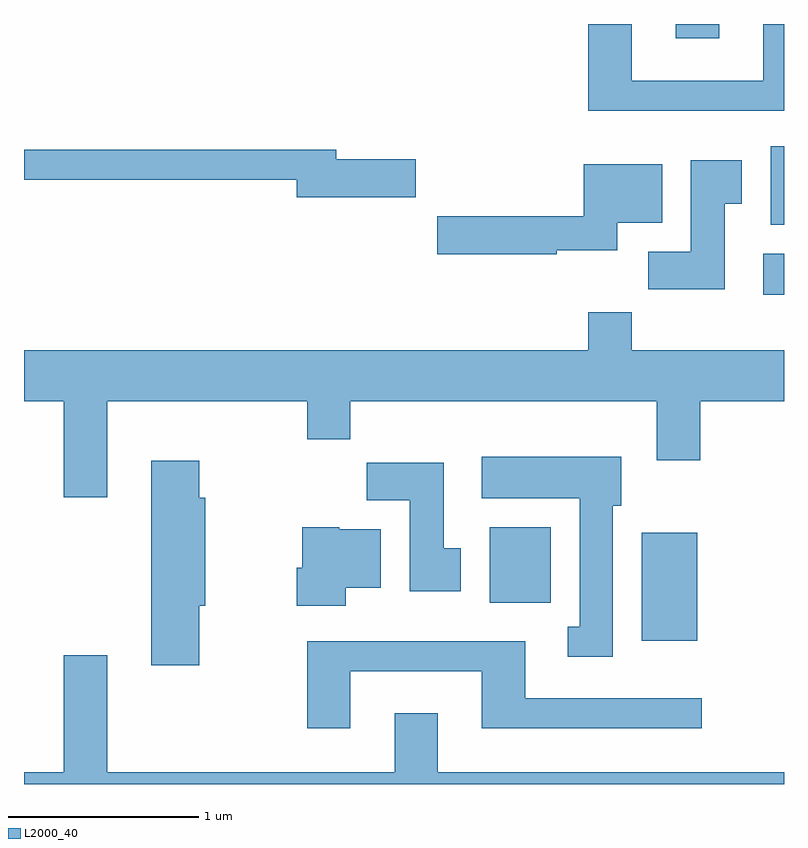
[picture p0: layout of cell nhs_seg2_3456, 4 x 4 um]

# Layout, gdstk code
import gdstk
lib = gdstk.Library(unit=1e-6, precision=1e-09)
def R(c, l, rs):  # rectangles x0, y0, x1, y1
    for r in rs: c.add(gdstk.rectangle(r[:2], r[2:], *l))
def P(c, l, *ps):  # polygons
    for p in ps: c.add(gdstk.Polygon(p, *l))
L2000_40 = (2000, 40)

nhs_seg2_3456 = lib.new_cell('nhs_seg2_3456')
R(nhs_seg2_3456, L2000_40, [(288.861,1102.556,289.154,1103.124), (288.061,1102.756,288.384,1103.154), (289.501,1104.376,289.611,1104.594), (289.541,1104.746,289.611,1105.159), (289.041,1105.726,289.269,1105.802)])
P(nhs_seg2_3456, L2000_40, [(289.611,1105.802),(289.501,1105.802),(289.501,1105.504),(288.809,1105.504),(288.809,1105.802),(288.581,1105.802),(288.581,1105.346),(289.611,1105.346)],
  [(287.674,1105.089),(287.254,1105.089),(287.254,1105.139),(285.611,1105.139),(285.611,1104.981),(287.046,1104.981),(287.046,1104.891),(287.674,1104.891)],
  [(289.299,1104.856),(289.389,1104.856),(289.389,1105.084),(289.121,1105.084),(289.121,1104.604),(288.896,1104.604),(288.896,1104.406),(289.299,1104.406)],
  [(288.414,1104.611),(288.734,1104.611),(288.734,1104.756),(288.969,1104.756),(288.969,1105.064),(288.556,1105.064),(288.556,1104.789),(287.786,1104.789),(287.786,1104.591),(288.414,1104.591)],
  [(286.049,1103.816),(287.101,1103.816),(287.101,1103.616),(287.329,1103.616),(287.329,1103.816),(288.941,1103.816),(288.941,1103.506),(289.169,1103.506),(289.169,1103.816),(289.611,1103.816),(289.611,1104.084),(288.809,1104.084),(288.809,1104.284),(288.581,1104.284),(288.581,1104.084),(285.611,1104.084),(285.611,1103.816),(285.821,1103.816),(285.821,1103.311),(286.049,1103.311)],
  [(288.709,1103.266),(288.754,1103.266),(288.754,1103.524),(288.021,1103.524),(288.021,1103.306),(288.536,1103.306),(288.536,1102.629),(288.473,1102.629),(288.473,1102.471),(288.709,1102.471)],
  [(286.534,1102.741),(286.564,1102.741),(286.564,1103.309),(286.534,1103.309),(286.534,1103.504),(286.281,1103.504),(286.281,1102.426),(286.534,1102.426)],
  [(287.909,1103.044),(287.819,1103.044),(287.819,1103.494),(287.416,1103.494),(287.416,1103.296),(287.641,1103.296),(287.641,1102.816),(287.909,1102.816)],
  [(287.304,1102.836),(287.489,1102.836),(287.489,1103.144),(287.27,1103.144),(287.27,1103.154),(287.076,1103.154),(287.076,1102.939),(287.046,1102.939),(287.046,1102.741),(287.304,1102.741)],
  [(287.329,1102.396),(288.021,1102.396),(288.021,1102.096),(289.178,1102.096),(289.178,1102.254),(288.249,1102.254),(288.249,1102.554),(287.101,1102.554),(287.101,1102.096),(287.329,1102.096)],
  [(289.611,1101.864),(287.789,1101.864),(287.789,1102.174),(287.561,1102.174),(287.561,1101.864),(286.049,1101.864),(286.049,1102.479),(285.821,1102.479),(285.821,1101.864),(285.611,1101.864),(285.611,1101.802),(289.611,1101.802)])

lib.write_gds('nhs_seg2_3456.gds')
